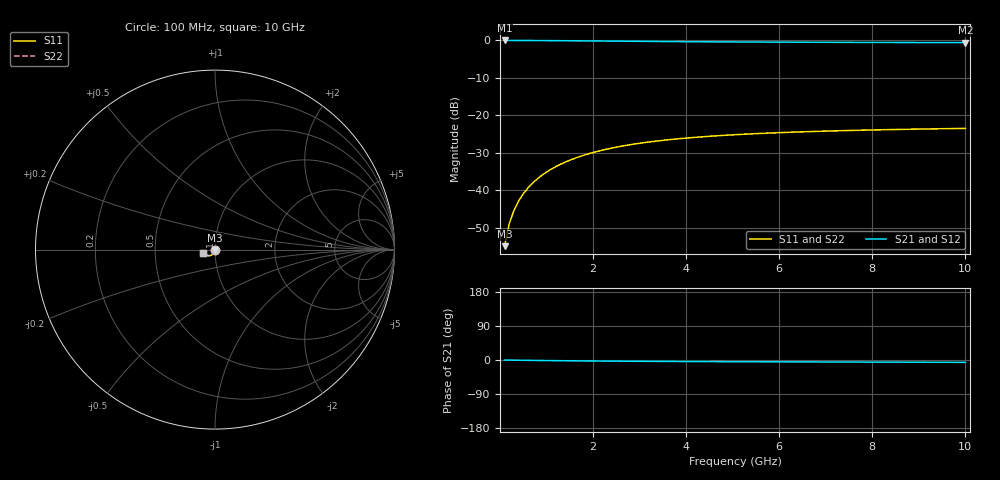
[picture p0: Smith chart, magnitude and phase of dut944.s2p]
! Touchstone file exported from HFSS 2024.1.0
!  File:  C:/UserFiles/LocalFiles/RDL_TSV_Batchsim/temp_TSV1_944_1779948418.aedt
!  Generated:  02:13:06 PM May 28, 2026
!  Design:  TSV1
!  Project:  temp_TSV1_944_1779948418
!  Setup:  Setup1
!  Solution:  Sweep
! Variables:
!  dtsv = 11.71um
!  hbump = 3um
!  htsv = 98.53um
!  lrdl = 252.1521522um
!  p = 40
!  p1 = 44.86um
!  t = 500um
!  trdl = 3um
!  wrdl = 24.89489489um
# GHz S MA R 50.000000
! Terminal data exported
! Port[1] = TSV22_T1
! Port[2] = TSV22_T2
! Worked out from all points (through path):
!   100 points, 100 MHz to 10 GHz, reference 50 ohm
!   highest |S21| = 0.00 dB at 100 MHz (marker M1); lowest = -0.6 dB at 10 GHz (marker M2)
!   lowest |S11| = -54.9 dB at 100 MHz (marker M3), VSWR 1.00, Z = 50 - j0.18 ohm
!   |S11| at or under -10 dB: start of sweep to end of sweep
!   |S22| runs from -54.9 to -23.5 dB; largest |S21 - S12| = 2.2e-15
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0.1  0.001806 -87.6  0.9998 -0.2  0.9998 -0.2  0.001806 -87.6
! Gamma 0 0 0 0
! Port Impedance 50 0 50 0
0.2  0.003607 -91.0  0.9997 -0.3  0.9997 -0.3  0.003607 -91.0
0.3  0.005407 -93.2  0.9994 -0.5  0.9994 -0.5  0.005408 -93.2
0.4  0.007202 -95.0  0.999 -0.6  0.999 -0.6  0.007202 -95.0
0.5  0.008985 -96.8  0.9986 -0.8  0.9986 -0.8  0.008985 -96.8
0.6  0.01075 -98.4  0.998 -0.9  0.998 -0.9  0.01075 -98.4
0.7  0.01249 -100.1  0.9974 -1.1  0.9974 -1.1  0.01249 -100.1
0.8  0.01421 -101.7  0.9967 -1.2  0.9967 -1.2  0.01421 -101.7
0.9  0.0159 -103.3  0.996 -1.3  0.996 -1.3  0.0159 -103.3
1.1  0.01918 -106.3  0.9943 -1.6  0.9943 -1.6  0.01918 -106.3
1.4  0.02382 -110.7  0.9913 -2.0  0.9913 -2.0  0.02382 -110.7
1.6  0.02672 -113.4  0.9892 -2.2  0.9892 -2.2  0.02672 -113.4
1.8  0.02945 -116.1  0.987 -2.4  0.987 -2.4  0.02945 -116.1
2.1  0.03324 -119.8  0.9835 -2.7  0.9835 -2.7  0.03324 -119.8
2.5  0.03773 -124.3  0.9789 -3.1  0.9789 -3.1  0.03773 -124.3
2.9  0.04164 -128.4  0.9744 -3.4  0.9744 -3.4  0.04164 -128.4
3.4  0.04579 -133.0  0.9691 -3.7  0.9691 -3.7  0.04579 -133.0
4.2  0.05108 -139.2  0.9618 -4.1  0.9618 -4.1  0.05108 -139.2
5.1  0.05556 -144.9  0.955 -4.5  0.955 -4.5  0.05556 -144.9
6.7  0.06103 -152.8  0.9461 -5.1  0.9461 -5.1  0.06103 -152.8
8.4  0.06478 -159.1  0.9397 -5.7  0.9397 -5.7  0.06478 -159.1
10  0.06717 -163.9  0.9354 -6.2  0.9354 -6.2  0.06717 -163.9
